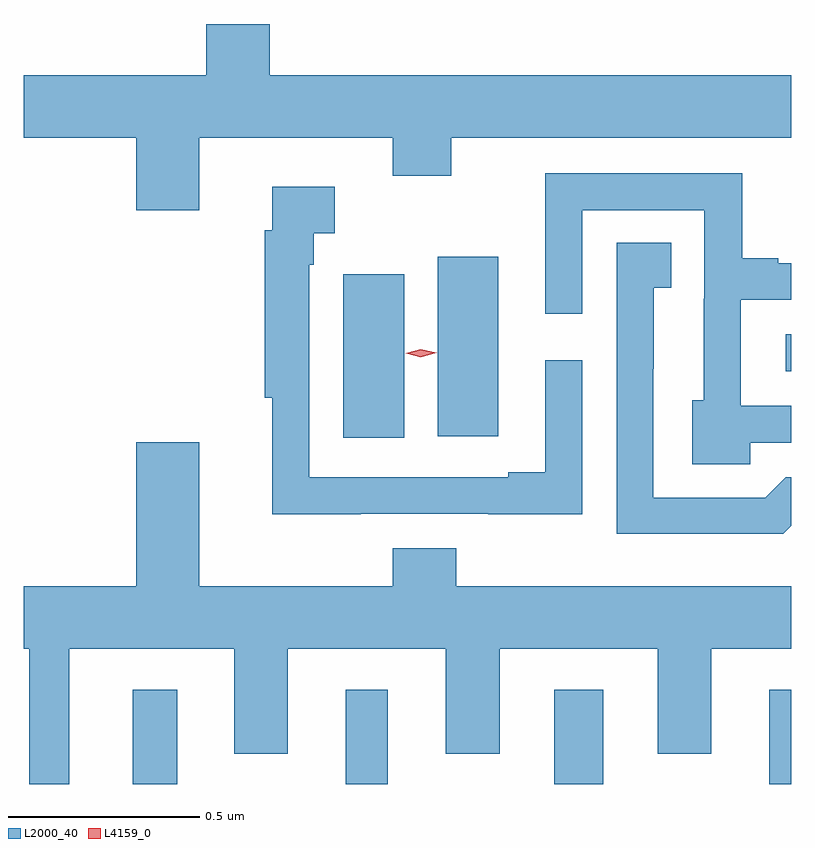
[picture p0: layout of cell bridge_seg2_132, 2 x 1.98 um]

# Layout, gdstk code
import gdstk
lib = gdstk.Library(unit=1e-6, precision=1e-09)
def R(c, l, rs):  # rectangles x0, y0, x1, y1
    for r in rs: c.add(gdstk.rectangle(r[:2], r[2:], *l))
def P(c, l, *ps):  # polygons
    for p in ps: c.add(gdstk.Polygon(p, *l))
L2000_40 = (2000, 40)
L4159_0 = (4159, 0)

bridge_seg2_132 = lib.new_cell('bridge_seg2_132')
R(bridge_seg2_132, L2000_40, [(380.783,588.676,380.899,588.922), (381.338,588.676,381.448,588.922), (381.881,588.676,382.009,588.922), (382.442,588.676,382.499,588.922), (381.332,589.578,381.49,590.005), (381.578,589.583,381.736,590.05), (382.485,589.752,382.499,589.848)])
P(bridge_seg2_132, L2000_40, [(380.956,590.36),(381.461,590.36),(381.461,590.261),(381.613,590.261),(381.613,590.36),(382.499,590.36),(382.499,590.524),(381.14,590.524),(381.14,590.657),(380.975,590.657),(380.975,590.524),(380.499,590.524),(380.499,590.36),(380.792,590.36),(380.792,590.172),(380.956,590.172)],
  [(382.393,589.566),(382.499,589.566),(382.499,589.662),(382.368,589.662),(382.368,589.938),(382.499,589.938),(382.499,590.034),(382.465,590.034),(382.465,590.047),(382.371,590.047),(382.371,590.268),(381.858,590.268),(381.858,589.902),(381.954,589.902),(381.954,590.172),(382.272,590.172),(382.272,589.941),(382.271,589.941),(382.271,589.676),(382.241,589.676),(382.241,589.51),(382.393,589.51)],
  [(381.377,589.38),(381.709,589.38),(381.709,589.379),(381.954,589.379),(381.954,589.78),(381.858,589.78),(381.858,589.489),(381.761,589.489),(381.761,589.476),(381.243,589.476),(381.243,590.03),(381.255,590.03),(381.255,590.112),(381.31,590.112),(381.31,590.233),(381.146,590.233),(381.146,590.12),(381.127,590.12),(381.127,589.683),(381.146,589.683),(381.146,589.379),(381.377,589.379)],
  [(382.499,589.349),(382.499,589.476),(382.485,589.476),(382.431,589.422),(382.14,589.422),(382.14,589.759),(382.141,589.759),(382.141,589.969),(382.187,589.969),(382.187,590.087),(382.044,590.087),(382.044,589.328),(382.478,589.328)],
  [(380.617,589.028),(381.047,589.028),(381.047,588.755),(381.187,588.755),(381.187,589.028),(381.599,589.028),(381.599,588.755),(381.739,588.755),(381.739,589.028),(382.151,589.028),(382.151,588.755),(382.291,588.755),(382.291,589.028),(382.499,589.028),(382.499,589.192),(381.626,589.192),(381.626,589.291),(381.461,589.291),(381.461,589.192),(380.956,589.192),(380.956,589.567),(380.792,589.567),(380.792,589.192),(380.499,589.192),(380.499,589.028),(380.513,589.028),(380.513,588.676),(380.617,588.676)])
P(bridge_seg2_132, L4159_0, [(381.534,589.789),(381.494,589.799),(381.494,589.799),(381.494,589.799),(381.534,589.809),(381.574,589.8),(381.575,589.8),(381.574,589.8)])

lib.write_gds('bridge_seg2_132.gds')
